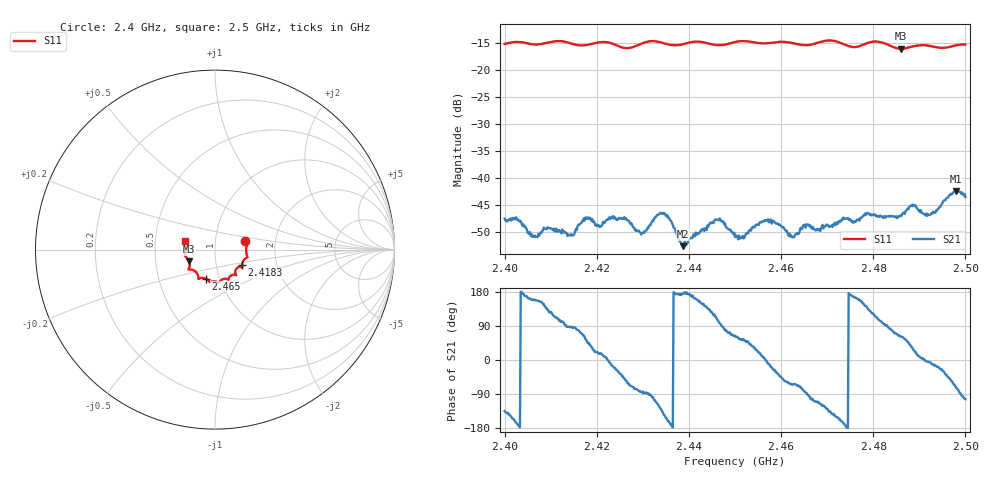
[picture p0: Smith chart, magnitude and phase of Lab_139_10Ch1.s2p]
# Hz S RI R 50
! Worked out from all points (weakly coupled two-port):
!   601 points, 2.4 GHz to 2.5 GHz, reference 50 ohm
!   highest |S21| = -42.50 dB at 2.498 GHz (marker M1); lowest = -52.7 dB at 2.4387 GHz (marker M2)
!   lowest |S11| = -16.0 dB at 2.486 GHz (marker M3), VSWR 1.37, Z = 37.2 - j4.96 ohm
!   |S11| at or under -10 dB: start of sweep to end of sweep
!   S12 and S22 are empty: the file has one direction only
!   S11 on the Smith chart (normalised r, x): 2.4 GHz: 1.40, +0.13; 2.4183 GHz: 1.33, -0.24; 2.465 GHz: 0.86, -0.29; 2.5 GHz: 0.71, +0.07
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2.4e9  0.1689 0.046  -0.00295 -0.00297  0 0  0 0
2.406667e9  0.1729 0.000939  -0.00262 0.00107  0 0  0 0
2.414667e9  0.1681 -0.0503  0.00019 0.00293  0 0  0 0
2.416667e9  0.155 -0.0683  0.00131 0.00361  0 0  0 0
2.418333e9  0.1498 -0.0869  0.00296 0.00291  0 0  0 0
2.425833e9  0.1266 -0.0999  0.00283 -0.0031  0 0  0 0
2.429833e9  0.1135 -0.1356  0.000237 -0.00307  0 0  0 0
2.433333e9  0.1167 -0.1414  -0.00215 -0.00402  0 0  0 0
2.435667e9  0.1023 -0.1393  -0.00406 -0.00132  0 0  0 0
2.438667e9  0.079 -0.1549  -0.00232 0.000221  0 0  0 0
2.446167e9  0.0515 -0.1628  -0.00118 0.00391  0 0  0 0
2.45e9  0.0252 -0.1807  0.00123 0.00254  0 0  0 0
2.456667e9  -0.00709 -0.1771  0.00403 -6.1e-05  0 0  0 0
2.4625e9  -0.0341 -0.1751  0.00124 -0.00252  0 0  0 0
2.465e9  -0.0528 -0.1621  0.000475 -0.00358  0 0  0 0
2.466667e9  -0.0713 -0.1575  -0.00085 -0.00328  0 0  0 0
2.483333e9  -0.142 -0.0957  0.000411 0.00439  0 0  0 0
2.486e9  -0.1437 -0.0651  0.00204 0.0039  0 0  0 0
2.488667e9  -0.1608 -0.0424  0.00482 0.00254  0 0  0 0
2.492167e9  -0.1663 -0.0266  0.00449 -0.000487  0 0  0 0
2.498e9  -0.1663 0.0363  0.0023 -0.00714  0 0  0 0
2.5e9  -0.1665 0.0473  -0.00154 -0.00648  0 0  0 0
